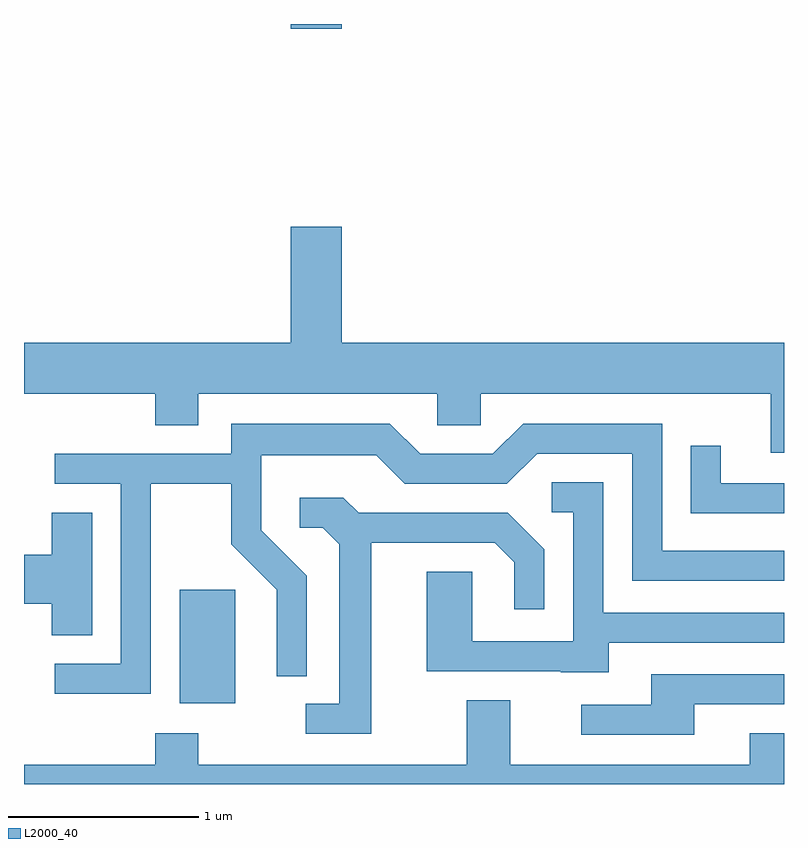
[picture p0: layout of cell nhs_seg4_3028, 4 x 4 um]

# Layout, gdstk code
import gdstk
lib = gdstk.Library(unit=1e-6, precision=1e-09)
def R(c, l, rs):  # rectangles x0, y0, x1, y1
    for r in rs: c.add(gdstk.rectangle(r[:2], r[2:], *l))
def P(c, l, *ps):  # polygons
    for p in ps: c.add(gdstk.Polygon(p, *l))
L2000_40 = (2000, 40)

nhs_seg4_3028 = lib.new_cell('nhs_seg4_3028')
R(nhs_seg4_3028, L2000_40, [(274.431,1326.406,274.724,1327.004), (275.016,1329.956,275.284,1329.982)])
P(nhs_seg4_3028, L2000_40, [(277.611,1328.304),(275.284,1328.304),(275.284,1328.914),(275.016,1328.914),(275.016,1328.304),(273.611,1328.304),(273.611,1328.036),(274.301,1328.036),(274.301,1327.871),(274.529,1327.871),(274.529,1328.036),(275.786,1328.036),(275.786,1327.871),(276.014,1327.871),(276.014,1328.036),(277.541,1328.036),(277.541,1327.726),(277.611,1327.726)],
  [(274.279,1327.561),(274.701,1327.561),(274.701,1327.244),(274.941,1327.004),(274.941,1326.548),(275.099,1326.548),(275.099,1327.077),(274.859,1327.317),(274.859,1327.711),(275.464,1327.711),(275.614,1327.561),(276.152,1327.561),(276.312,1327.721),(276.811,1327.721),(276.811,1327.051),(277.611,1327.051),(277.611,1327.209),(276.969,1327.209),(276.969,1327.879),(276.239,1327.879),(276.079,1327.719),(275.697,1327.719),(275.537,1327.879),(274.701,1327.879),(274.701,1327.719),(273.773,1327.719),(273.773,1327.561),(274.121,1327.561),(274.121,1326.614),(273.773,1326.614),(273.773,1326.456),(274.279,1326.456)],
  [(277.611,1327.564),(277.279,1327.564),(277.279,1327.763),(277.121,1327.763),(277.121,1327.406),(277.611,1327.406)],
  [(276.689,1326.726),(277.611,1326.726),(277.611,1326.884),(276.659,1326.884),(276.659,1327.569),(276.388,1327.569),(276.388,1327.411),(276.501,1327.411),(276.501,1326.734),(275.969,1326.734),(275.969,1327.099),(275.731,1327.099),(275.731,1326.576),(276.435,1326.576),(276.435,1326.571),(276.689,1326.571)],
  [(275.439,1327.251),(276.089,1327.251),(276.191,1327.149),(276.191,1326.903),(276.349,1326.903),(276.349,1327.217),(276.157,1327.409),(275.372,1327.409),(275.292,1327.489),(275.063,1327.489),(275.063,1327.331),(275.184,1327.331),(275.271,1327.244),(275.271,1326.404),(275.093,1326.404),(275.093,1326.246),(275.439,1326.246)],
  [(273.969,1327.409),(273.756,1327.409),(273.756,1327.189),(273.611,1327.189),(273.611,1326.931),(273.756,1326.931),(273.756,1326.766),(273.969,1326.766)],
  [(277.139,1326.401),(277.611,1326.401),(277.611,1326.559),(276.911,1326.559),(276.911,1326.399),(276.543,1326.399),(276.543,1326.241),(277.139,1326.241)],
  [(277.611,1326.249),(277.431,1326.249),(277.431,1326.084),(276.169,1326.084),(276.169,1326.424),(275.941,1326.424),(275.941,1326.084),(274.529,1326.084),(274.529,1326.249),(274.301,1326.249),(274.301,1326.084),(273.611,1326.084),(273.611,1325.982),(277.611,1325.982)])

lib.write_gds('nhs_seg4_3028.gds')
